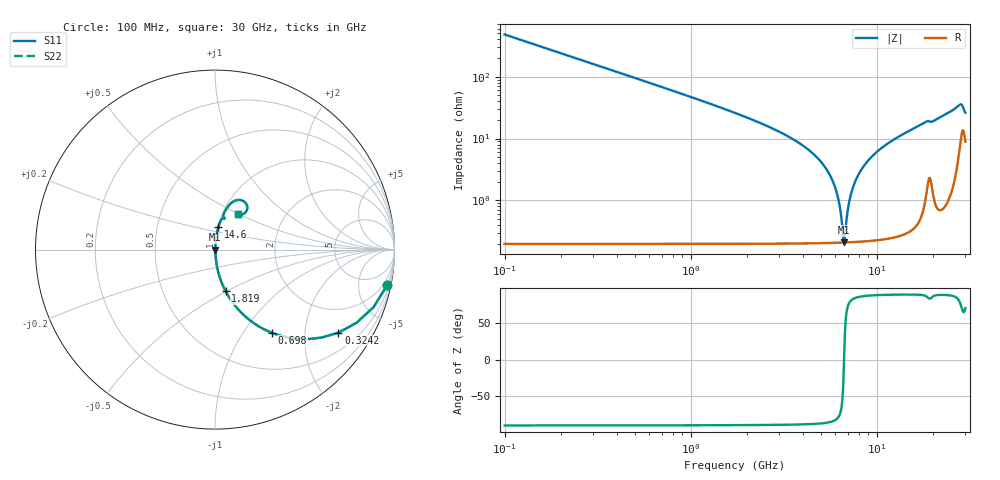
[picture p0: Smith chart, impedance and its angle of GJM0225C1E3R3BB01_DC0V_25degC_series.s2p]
!Murata Part Number: GJM0225C1E3R3BB01
!These Parameters are Measured in Series Mode Connection
!  o--ll--o
!Port1  Port2
!  o------o
!Operation Temp=25[degC], DC Bias Voltage=0[V]
!Freq. Start=100[MHz] Stop=30[GHz], 401[Steps]
!Data Generated on Feb 1, 2023
# Hz S RI R 50
!Freq.(Hz) S11(Real) S11(Imag) S21(Real) S21(Imag) S12(Real) S12(Imag) S22(Real) S22(Imag)
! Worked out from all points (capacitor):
!   401 points, 100 MHz to 30 GHz, reference 50 ohm
!   read as one part in series: C = 3.3 pF near 249.5 MHz
!   lowest |Z| = 208 mohm at 6.678 GHz (marker M1)
!   series resonance near 6.682 GHz, so ESL is about 170 pH
!   S11 on the Smith chart (normalised r, x): 100 MHz: 1.00, -9.64; 324.2 MHz: 1.00, -2.97; 698 MHz: 1.00, -1.37; 1.819 GHz: 1.00, -0.49; 14.6 GHz: 1.01, +0.26; 30 GHz: 1.18, +0.49
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1e8  0.9587 -0.1988  0.0413 0.1988  0.0413 0.1988  0.9587 -0.1988
3.2425e8  0.6875 -0.4629  0.3125 0.4629  0.3125 0.4629  0.6875 -0.4629
6.98e8  0.3189 -0.4646  0.6811 0.4646  0.6811 0.4646  0.3189 -0.4646
1.1465e9  0.1441 -0.3488  0.8559 0.3488  0.8559 0.3488  0.1441 -0.3488
1.81925e9  0.0585 -0.2307  0.9415 0.2307  0.9415 0.2307  0.0585 -0.2307
5.10825e9  0.00356 -0.0391  0.9964 0.0391  0.9964 0.0391  0.00356 -0.0391
6.00525e9  0.00229 -0.0154  0.9977 0.0154  0.9977 0.0154  0.00229 -0.0154
6.2295e9  0.00216 -0.0101  0.9978 0.0101  0.9978 0.0101  0.00216 -0.0101
6.5285e9  0.00208 -0.00335  0.9979 0.00335  0.9979 0.00335  0.00208 -0.00335
6.678e9  0.00208 -7.89e-05  0.9979 7.89e-05  0.9979 7.89e-05  0.00208 -7.89e-05
6.8275e9  0.00209 0.00312  0.9979 -0.00312  0.9979 -0.00312  0.00209 0.00312
7.05175e9  0.00215 0.00779  0.9978 -0.00779  0.9978 -0.00779  0.00215 0.00779
7.20125e9  0.00221 0.0108  0.9978 -0.0108  0.9978 -0.0108  0.00221 0.0108
7.7245e9  0.00256 0.021  0.9974 -0.021  0.9974 -0.021  0.00256 0.021
8.69625e9  0.00366 0.0385  0.9963 -0.0385  0.9963 -0.0385  0.00366 0.0385
1.01165e10  0.00609 0.0617  0.9939 -0.0617  0.9939 -0.0617  0.00609 0.0617
1.46015e10  0.019 0.1253  0.981 -0.1253  0.981 -0.1253  0.019 0.1253
1.505e10  0.0207 0.1313  0.9793 -0.1313  0.9793 -0.1313  0.0207 0.1313
2.005825e10  0.0462 0.1784  0.9538 -0.1784  0.9538 -0.1784  0.0462 0.1784
2.50665e10  0.0805 0.25  0.9195 -0.25  0.9195 -0.25  0.0805 0.25
2.8206e10  0.1639 0.2665  0.8361 -0.2665  0.8361 -0.2665  0.1639 0.2665
3e10  0.1266 0.198  0.8734 -0.198  0.8734 -0.198  0.1266 0.198
